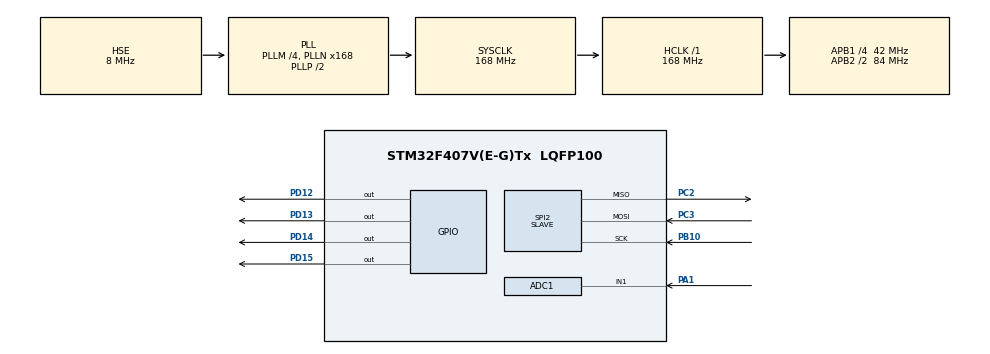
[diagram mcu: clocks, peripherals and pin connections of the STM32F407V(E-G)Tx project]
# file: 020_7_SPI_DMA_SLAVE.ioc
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ADC1.Channel-0\#ChannelRegularConversion=ADC_CHANNEL_1
ADC1.ContinuousConvMode=ENABLE
ADC1.NbrOfConversion=1
ADC1.NbrOfConversionFlag=1
ADC1.Rank-0\#ChannelRegularConversion=1
ADC1.SamplingTime-0\#ChannelRegularConversion=ADC_SAMPLETIME_3CYCLES
ADC1.master=1
Dma.Request0=SPI2_RX
Dma.Request1=SPI2_TX
Dma.SPI2_RX.0.Direction=DMA_PERIPH_TO_MEMORY
Dma.SPI2_RX.0.FIFOMode=DMA_FIFOMODE_DISABLE
Dma.SPI2_RX.0.Instance=DMA1_Stream3
Dma.SPI2_RX.0.MemDataAlignment=DMA_MDATAALIGN_BYTE
Dma.SPI2_RX.0.MemInc=DMA_MINC_ENABLE
Dma.SPI2_RX.0.Mode=DMA_NORMAL
Dma.SPI2_RX.0.PeriphDataAlignment=DMA_PDATAALIGN_BYTE
Dma.SPI2_RX.0.PeriphInc=DMA_PINC_DISABLE
Dma.SPI2_RX.0.Priority=DMA_PRIORITY_LOW
Dma.SPI2_TX.1.Direction=DMA_MEMORY_TO_PERIPH
Dma.SPI2_TX.1.FIFOMode=DMA_FIFOMODE_DISABLE
Dma.SPI2_TX.1.Instance=DMA1_Stream4
Dma.SPI2_TX.1.MemDataAlignment=DMA_MDATAALIGN_BYTE
Dma.SPI2_TX.1.MemInc=DMA_MINC_ENABLE
Dma.SPI2_TX.1.Mode=DMA_NORMAL
Dma.SPI2_TX.1.PeriphDataAlignment=DMA_PDATAALIGN_BYTE
Dma.SPI2_TX.1.PeriphInc=DMA_PINC_DISABLE
Dma.SPI2_TX.1.Priority=DMA_PRIORITY_LOW
Mcu.Family=STM32F4
Mcu.Name=STM32F407V(E-G)Tx
Mcu.Package=LQFP100
NVIC.ADC_IRQn=true\:0\:0\:false\:false\:true\:true\:true
NVIC.DMA1_Stream3_IRQn=true\:2\:0\:true\:false\:true\:false\:true
NVIC.DMA1_Stream4_IRQn=true\:2\:0\:true\:false\:true\:false\:true
NVIC.PriorityGroup=NVIC_PRIORITYGROUP_4
NVIC.SPI2_IRQn=true\:1\:0\:true\:false\:true\:true\:true
PA1.Signal=ADCx_IN1
PA13.Mode=Serial_Wire
PA13.Signal=SYS_JTMS-SWDIO
PA14.Mode=Serial_Wire
PA14.Signal=SYS_JTCK-SWCLK
PB10.Mode=Full_Duplex_Slave
PB10.Signal=SPI2_SCK
PC2.Mode=Full_Duplex_Slave
PC2.Signal=SPI2_MISO
PC3.Mode=Full_Duplex_Slave
PC3.Signal=SPI2_MOSI
PD12.Signal=GPIO_Output
PD13.Signal=GPIO_Output
PD14.Signal=GPIO_Output
PD15.Signal=GPIO_Output
PH0-OSC_IN.Mode=HSE-External-Oscillator
PH0-OSC_IN.Signal=RCC_OSC_IN
PH1-OSC_OUT.Mode=HSE-External-Oscillator
PH1-OSC_OUT.Signal=RCC_OSC_OUT
ProjectManager.HeapSize=0x200
ProjectManager.StackSize=0x400
ProjectManager.TargetToolchain=STM32CubeIDE
RCC.48MHZClocksFreq_Value=84000000
RCC.AHBFreq_Value=168000000
RCC.APB1CLKDivider=RCC_HCLK_DIV4
RCC.APB1Freq_Value=42000000
RCC.APB1TimFreq_Value=84000000
RCC.APB2CLKDivider=RCC_HCLK_DIV2
RCC.APB2Freq_Value=84000000
RCC.APB2TimFreq_Value=168000000
RCC.CortexFreq_Value=168000000
RCC.HCLKFreq_Value=168000000
RCC.HSE_VALUE=8000000
RCC.HSI_VALUE=16000000
RCC.LSE_VALUE=32768
RCC.PLLM=4
RCC.PLLN=168
RCC.PLLSourceVirtual=RCC_PLLSOURCE_HSE
RCC.SYSCLKFreq_VALUE=168000000
RCC.SYSCLKSource=RCC_SYSCLKSOURCE_PLLCLK
RCC.VCOOutputFreq_Value=336000000
SH.ADCx_IN1.0=ADC1_IN1,IN1
SPI2.CLKPolarity=SPI_POLARITY_HIGH
SPI2.Direction=SPI_DIRECTION_2LINES
SPI2.Mode=SPI_MODE_SLAVE
SPI2.VirtualType=VM_SLAVE
board=custom

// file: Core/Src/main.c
/* USER CODE BEGIN Header */
/**
  ******************************************************************************
  * @file           : main.c
  * @brief          : Main program body
  ******************************************************************************
  * @attention
  *
  * <h2><center>&copy; Copyright (c) 2021 STMicroelectronics.
  * All rights reserved.</center></h2>
  *
  * This software component is licensed by ST under BSD 3-Clause license,
  * the "License"; You may not use this file except in compliance with the
  * License. You may obtain a copy of the License at:
  *                        opensource.org/licenses/BSD-3-Clause
  *
  ******************************************************************************
  */
/* USER CODE END Header */
#include "main.h"

ADC_HandleTypeDef hadc1;

SPI_HandleTypeDef hspi2;
DMA_HandleTypeDef hdma_spi2_rx;
DMA_HandleTypeDef hdma_spi2_tx;

/* USER CODE BEGIN PV */

uint8_t  aTxBuffer[] = "SPI SLAVE DEN CEVAP: SLAVE' DEN MESAJ ALINDI";
uint8_t  aRxBuffer[43];
uint32_t ADCValue = 0;

/* USER CODE END PV */

void SystemClock_Config(void);
static void MX_GPIO_Init(void);
static void MX_DMA_Init(void);
static void MX_SPI2_Init(void);
static void MX_ADC1_Init(void);

int main(void)
{

  /* MCU Configuration--------------------------------------------------------*/

  /* Reset of all peripherals, Initializes the Flash interface and the Systick. */
  HAL_Init();

  /* Configure the system clock */
  SystemClock_Config();

  /* Initialize all configured peripherals */
  MX_GPIO_Init();
  MX_DMA_Init();
  MX_SPI2_Init();
  MX_ADC1_Init();
  /* USER CODE BEGIN 2 */

  if(HAL_ADC_Start_IT(&hadc1) != HAL_OK)
    {
  	  Error_Handler();
    }

     for(volatile uint8_t i=0; i<16;i++)
     {
   	  HAL_GPIO_TogglePin(GPIOD, GPIO_PIN_12);
   	  HAL_GPIO_TogglePin(GPIOD, GPIO_PIN_13);
   	  HAL_Delay(100);

     }
     HAL_GPIO_WritePin(GPIOD, GPIO_PIN_12, RESET);
     HAL_GPIO_WritePin(GPIOD, GPIO_PIN_13 , RESET);

     __HAL_SPI_ENABLE(&hspi2);

       while(HAL_SPI_TransmitReceive_DMA(&hspi2, (uint8_t *)aTxBuffer, (uint8_t *)aRxBuffer, 43) != HAL_OK)
       {
     	  Error_Handler();
       }
       while (HAL_SPI_GetState(&hspi2) != HAL_SPI_STATE_READY);

  /* USER CODE END 2 */

  /* Infinite loop */
  while (1)
  {

  }
}

void SystemClock_Config(void)
{
  RCC_OscInitTypeDef RCC_OscInitStruct = {0};
  RCC_ClkInitTypeDef RCC_ClkInitStruct = {0};

  /** Configure the main internal regulator output voltage
  */
  __HAL_RCC_PWR_CLK_ENABLE();
  __HAL_PWR_VOLTAGESCALING_CONFIG(PWR_REGULATOR_VOLTAGE_SCALE1);
  /** Initializes the RCC Oscillators according to the specified parameters
  * in the RCC_OscInitTypeDef structure.
  */
  RCC_OscInitStruct.OscillatorType = RCC_OSCILLATORTYPE_HSE;
  RCC_OscInitStruct.HSEState = RCC_HSE_ON;
  RCC_OscInitStruct.PLL.PLLState = RCC_PLL_ON;
  RCC_OscInitStruct.PLL.PLLSource = RCC_PLLSOURCE_HSE;
  RCC_OscInitStruct.PLL.PLLM = 4;
  RCC_OscInitStruct.PLL.PLLN = 168;
  RCC_OscInitStruct.PLL.PLLP = RCC_PLLP_DIV2;
  RCC_OscInitStruct.PLL.PLLQ = 4;
  if (HAL_RCC_OscConfig(&RCC_OscInitStruct) != HAL_OK)
  {
    Error_Handler();
  }
  /** Initializes the CPU, AHB and APB buses clocks
  */
  RCC_ClkInitStruct.ClockType = RCC_CLOCKTYPE_HCLK|RCC_CLOCKTYPE_SYSCLK
                              |RCC_CLOCKTYPE_PCLK1|RCC_CLOCKTYPE_PCLK2;
  RCC_ClkInitStruct.SYSCLKSource = RCC_SYSCLKSOURCE_PLLCLK;
  RCC_ClkInitStruct.AHBCLKDivider = RCC_SYSCLK_DIV1;
  RCC_ClkInitStruct.APB1CLKDivider = RCC_HCLK_DIV4;
  RCC_ClkInitStruct.APB2CLKDivider = RCC_HCLK_DIV2;

  if (HAL_RCC_ClockConfig(&RCC_ClkInitStruct, FLASH_LATENCY_5) != HAL_OK)
  {
    Error_Handler();
  }
}

static void MX_ADC1_Init(void)
{

  ADC_ChannelConfTypeDef sConfig = {0};

  /** Configure the global features of the ADC (Clock, Resolution, Data Alignment and number of conversion)
  */
  hadc1.Instance = ADC1;
  hadc1.Init.ClockPrescaler = ADC_CLOCK_SYNC_PCLK_DIV4;
  hadc1.Init.Resolution = ADC_RESOLUTION_12B;
  hadc1.Init.ScanConvMode = DISABLE;
  hadc1.Init.ContinuousConvMode = ENABLE;
  hadc1.Init.DiscontinuousConvMode = DISABLE;
  hadc1.Init.ExternalTrigConvEdge = ADC_EXTERNALTRIGCONVEDGE_NONE;
  hadc1.Init.ExternalTrigConv = ADC_SOFTWARE_START;
  hadc1.Init.DataAlign = ADC_DATAALIGN_RIGHT;
  hadc1.Init.NbrOfConversion = 1;
  hadc1.Init.DMAContinuousRequests = DISABLE;
  hadc1.Init.EOCSelection = ADC_EOC_SINGLE_CONV;
  if (HAL_ADC_Init(&hadc1) != HAL_OK)
  {
    Error_Handler();
  }
  /** Configure for the selected ADC regular channel its corresponding rank in the sequencer and its sample time.
  */
  sConfig.Channel = ADC_CHANNEL_1;
  sConfig.Rank = 1;
  sConfig.SamplingTime = ADC_SAMPLETIME_3CYCLES;
  if (HAL_ADC_ConfigChannel(&hadc1, &sConfig) != HAL_OK)
  {
    Error_Handler();
  }

}

static void MX_SPI2_Init(void)
{

  /* SPI2 parameter configuration*/
  hspi2.Instance = SPI2;
  hspi2.Init.Mode = SPI_MODE_SLAVE;
  hspi2.Init.Direction = SPI_DIRECTION_2LINES;
  hspi2.Init.DataSize = SPI_DATASIZE_8BIT;
  hspi2.Init.CLKPolarity = SPI_POLARITY_HIGH;
  hspi2.Init.CLKPhase = SPI_PHASE_1EDGE;
  hspi2.Init.NSS = SPI_NSS_SOFT;
  hspi2.Init.FirstBit = SPI_FIRSTBIT_MSB;
  hspi2.Init.TIMode = SPI_TIMODE_DISABLE;
  hspi2.Init.CRCCalculation = SPI_CRCCALCULATION_DISABLE;
  hspi2.Init.CRCPolynomial = 10;
  if (HAL_SPI_Init(&hspi2) != HAL_OK)
  {
    Error_Handler();
  }

}

static void MX_DMA_Init(void)
{

  /* DMA controller clock enable */
  __HAL_RCC_DMA1_CLK_ENABLE();

  /* DMA interrupt init */
  /* DMA1_Stream3_IRQn interrupt configuration */
  HAL_NVIC_SetPriority(DMA1_Stream3_IRQn, 2, 0);
  HAL_NVIC_EnableIRQ(DMA1_Stream3_IRQn);
  /* DMA1_Stream4_IRQn interrupt configuration */
  HAL_NVIC_SetPriority(DMA1_Stream4_IRQn, 2, 0);
  HAL_NVIC_EnableIRQ(DMA1_Stream4_IRQn);

}

static void MX_GPIO_Init(void)
{
  GPIO_InitTypeDef GPIO_InitStruct = {0};

  /* GPIO Ports Clock Enable */
  __HAL_RCC_GPIOH_CLK_ENABLE();
  __HAL_RCC_GPIOC_CLK_ENABLE();
  __HAL_RCC_GPIOA_CLK_ENABLE();
  __HAL_RCC_GPIOB_CLK_ENABLE();
  __HAL_RCC_GPIOD_CLK_ENABLE();

  /*Configure GPIO pin Output Level */
  HAL_GPIO_WritePin(GPIOD, GPIO_PIN_12|GPIO_PIN_13|GPIO_PIN_14|GPIO_PIN_15, GPIO_PIN_RESET);

  /*Configure GPIO pins : PD12 PD13 PD14 PD15 */
  GPIO_InitStruct.Pin = GPIO_PIN_12|GPIO_PIN_13|GPIO_PIN_14|GPIO_PIN_15;
  GPIO_InitStruct.Mode = GPIO_MODE_OUTPUT_PP;
  GPIO_InitStruct.Pull = GPIO_NOPULL;
  GPIO_InitStruct.Speed = GPIO_SPEED_FREQ_LOW;
  HAL_GPIO_Init(GPIOD, &GPIO_InitStruct);

}

/* USER CODE BEGIN 4 */

void HAL_SPI_TxRxCpltCallback(SPI_HandleTypeDef *hspi)
{

  sprintf(aTxBuffer, "    SPI_SLAVE'DEN CEVAP: ADC VALUE: %4d   ", ADCValue);
  if(HAL_SPI_TransmitReceive_DMA(&hspi2, (uint8_t*)aTxBuffer, (uint8_t*)aRxBuffer, 43) != HAL_OK)
  {
	  Error_Handler();
  }
	HAL_GPIO_WritePin(GPIOD, GPIO_PIN_12, SET);
	HAL_GPIO_WritePin(GPIOD, GPIO_PIN_13, SET);
	HAL_GPIO_WritePin(GPIOD, GPIO_PIN_14, SET);
	HAL_GPIO_WritePin(GPIOD, GPIO_PIN_15, SET);

}
void HAL_SPI_ErrorCallback (SPI_HandleTypeDef *hspi)
{
	HAL_GPIO_WritePin(GPIOD, GPIO_PIN_12, RESET);
	HAL_GPIO_WritePin(GPIOD, GPIO_PIN_13, RESET);
	HAL_GPIO_WritePin(GPIOD, GPIO_PIN_14, RESET);
	HAL_GPIO_WritePin(GPIOD, GPIO_PIN_15, RESET);
}
void HAL_ADC_ConvCpltCallback(ADC_HandleTypeDef* hadc)
{
	ADCValue = HAL_ADC_GetValue(&hadc1);
}

/* USER CODE END 4 */

void Error_Handler(void)
{
  __disable_irq();
  while (1)
  {
  }
}

/************************ (C) COPYRIGHT STMicroelectronics *****END OF FILE****/
